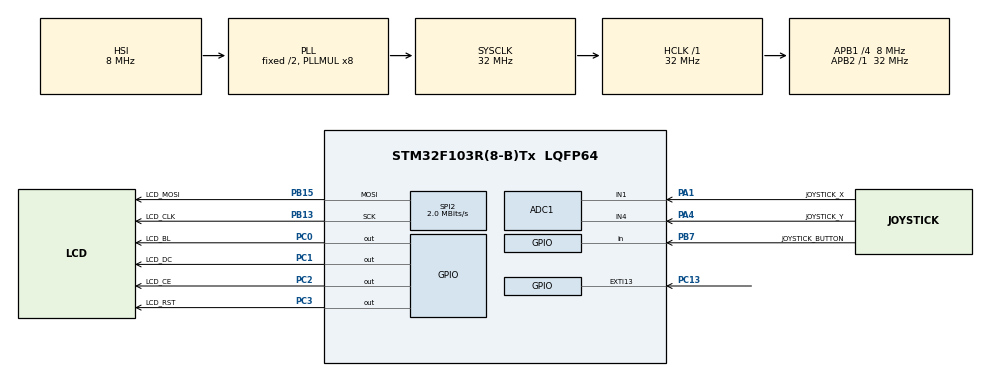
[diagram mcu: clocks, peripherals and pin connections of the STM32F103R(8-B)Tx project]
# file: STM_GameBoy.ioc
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ADC1.Channel-0\#ChannelRegularConversion=ADC_CHANNEL_1
ADC1.Channel-1\#ChannelRegularConversion=ADC_CHANNEL_4
ADC1.ContinuousConvMode=ENABLE
ADC1.EnableInjectedConversion=ENABLE
ADC1.ExternalTrigConv=ADC_SOFTWARE_START
ADC1.NbrOfConversion=2
ADC1.NbrOfConversionFlag=1
ADC1.Rank-1\#ChannelRegularConversion=2
ADC1.SamplingTime-0\#ChannelRegularConversion=ADC_SAMPLETIME_239CYCLES_5
ADC1.SamplingTime-1\#ChannelRegularConversion=ADC_SAMPLETIME_239CYCLES_5
ADC1.master=1
Dma.ADC1.0.Direction=DMA_PERIPH_TO_MEMORY
Dma.ADC1.0.Instance=DMA1_Channel1
Dma.ADC1.0.MemDataAlignment=DMA_MDATAALIGN_HALFWORD
Dma.ADC1.0.MemInc=DMA_MINC_ENABLE
Dma.ADC1.0.Mode=DMA_CIRCULAR
Dma.ADC1.0.PeriphDataAlignment=DMA_PDATAALIGN_HALFWORD
Dma.ADC1.0.PeriphInc=DMA_PINC_DISABLE
Dma.ADC1.0.Priority=DMA_PRIORITY_LOW
Dma.Request0=ADC1
Mcu.Family=STM32F1
Mcu.Name=STM32F103R(8-B)Tx
Mcu.Package=LQFP64
NVIC.DMA1_Channel1_IRQn=true\:0\:0\:false\:false\:true\:false\:true
NVIC.EXTI15_10_IRQn=true\:0\:0\:false\:false\:true\:true\:true
NVIC.PriorityGroup=NVIC_PRIORITYGROUP_4
NVIC.TIM4_IRQn=true\:0\:0\:false\:false\:true\:true\:true
PA1.GPIO_Label=JOYSTICK_X
PA1.Signal=ADCx_IN1
PA13.Mode=Serial_Wire
PA13.Signal=SYS_JTMS-SWDIO
PA14.Mode=Serial_Wire
PA14.Signal=SYS_JTCK-SWCLK
PA3.GPIO_Mode=GPIO_MODE_INPUT
PA3.GPIO_PuPd=GPIO_NOPULL
PA3.GPIO_Speed=GPIO_SPEED_FREQ_LOW
PA3.Signal=USART2_RX
PA4.GPIO_Label=JOYSTICK_Y
PA4.Signal=ADCx_IN4
PB13.GPIO_Label=LCD_CLK
PB13.Mode=TX_Only_Simplex_Unidirect_Master
PB13.Signal=SPI2_SCK
PB15.GPIO_Label=LCD_MOSI
PB15.Mode=TX_Only_Simplex_Unidirect_Master
PB15.Signal=SPI2_MOSI
PB3.Signal=SYS_JTDO-TRACESWO
PB7.GPIO_Label=JOYSTICK_BUTTON
PB7.GPIO_PuPd=GPIO_PULLUP
PB7.Signal=GPIO_Input
PC0.GPIO_Label=LCD_BL
PC0.PinState=GPIO_PIN_SET
PC0.Signal=GPIO_Output
PC1.GPIO_Label=LCD_DC
PC1.Signal=GPIO_Output
PC13-TAMPER-RTC.GPIO_ModeDefaultEXTI=GPIO_MODE_IT_RISING
PC13-TAMPER-RTC.GPIO_PuPd=GPIO_NOPULL
PC13-TAMPER-RTC.Signal=GPXTI13
PC14-OSC32_IN.Mode=LSE-External-Oscillator
PC14-OSC32_IN.Signal=RCC_OSC32_IN
PC15-OSC32_OUT.Mode=LSE-External-Oscillator
PC15-OSC32_OUT.Signal=RCC_OSC32_OUT
PC2.GPIO_Label=LCD_CE
PC2.Signal=GPIO_Output
PC3.GPIO_Label=LCD_RST
PC3.Signal=GPIO_Output
PD0-OSC_IN.Mode=HSE-External-Clock-Source
PD0-OSC_IN.Signal=RCC_OSC_IN
PD1-OSC_OUT.Mode=HSE-External-Clock-Source
PD1-OSC_OUT.Signal=RCC_OSC_OUT
ProjectManager.HeapSize=0x200
ProjectManager.StackSize=0x400
ProjectManager.TargetToolchain=STM32CubeIDE
RCC.ADCPresc=RCC_ADCPCLK2_DIV8
RCC.AHBFreq_Value=32000000
RCC.APB1CLKDivider=RCC_HCLK_DIV4
RCC.APB1Freq_Value=8000000
RCC.APB1TimFreq_Value=16000000
RCC.APB2Freq_Value=32000000
RCC.APB2TimFreq_Value=32000000
RCC.HCLKFreq_Value=32000000
RCC.PLLMUL=RCC_PLL_MUL8
RCC.RTCClockSelection=RCC_RTCCLKSOURCE_LSE
RCC.SYSCLKFreq_VALUE=32000000
RCC.SYSCLKSource=RCC_SYSCLKSOURCE_PLLCLK
RCC.USBFreq_Value=32000000
SH.ADCx_IN1.0=ADC1_IN1,IN1
SH.ADCx_IN4.0=ADC1_IN4,IN4
SPI2.BaudRatePrescaler=SPI_BAUDRATEPRESCALER_4
SPI2.CalculateBaudRate=2.0 MBits/s
SPI2.Direction=SPI_DIRECTION_2LINES
SPI2.Mode=SPI_MODE_MASTER
SPI2.VirtualType=VM_MASTER
TIM4.ClockDivision=TIM_CLOCKDIVISION_DIV4
TIM4.Period=50
TIM4.Prescaler=7999
VP_TIM4_VS_ClockSourceINT.Mode=Internal
board=NUCLEO-F103RB

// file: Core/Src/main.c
/* USER CODE BEGIN Header */
/**
  ******************************************************************************
  * @file           : main.c
  * @brief          : Main program body
  ******************************************************************************
  * @attention
  *
  * <h2><center>&copy; Copyright (c) 2020 STMicroelectronics.
  * All rights reserved.</center></h2>
  *
  * This software component is licensed by ST under BSD 3-Clause license,
  * the "License"; You may not use this file except in compliance with the
  * License. You may obtain a copy of the License at:
  *                        opensource.org/licenses/BSD-3-Clause
  *
  ******************************************************************************
  */
/* USER CODE END Header */

#include "main.h"

/* USER CODE BEGIN Includes */
//#include "menu.h"
#include "run.h"
/* USER CODE END Includes */

ADC_HandleTypeDef hadc1;
DMA_HandleTypeDef hdma_adc1;

SPI_HandleTypeDef hspi2;

TIM_HandleTypeDef htim4;

/* USER CODE BEGIN PV */
Point position = {2, 2};
Point move = {0, 0};
/* USER CODE END PV */

void SystemClock_Config(void);
static void MX_GPIO_Init(void);
static void MX_DMA_Init(void);
static void MX_ADC1_Init(void);
static void MX_SPI2_Init(void);
static void MX_TIM4_Init(void);
/* USER CODE BEGIN PFP */

void HAL_TIM_PeriodElapsedCallback(TIM_HandleTypeDef *htim){
	 if(htim->Instance == TIM4){
		 joy_direction(&move);

		 if(joystick_button_pressed && HAL_GPIO_ReadPin(JOYSTICK_BUTTON_GPIO_Port, JOYSTICK_BUTTON_Pin)){
			 joystick_button_toggle = !joystick_button_toggle;
			 joystick_button_changed = 1;
		 }
		 else{
			 joystick_button_changed = 0;
		 }
		 joystick_button_pressed = !HAL_GPIO_ReadPin(JOYSTICK_BUTTON_GPIO_Port, JOYSTICK_BUTTON_Pin);
		 if(system_actual)
			 system_actual();
	 }

}

/* USER CODE END PFP */

int main(void)
{

  /* MCU Configuration--------------------------------------------------------*/

  /* Reset of all peripherals, Initializes the Flash interface and the Systick. */
  HAL_Init();

  /* Configure the system clock */
  SystemClock_Config();

  /* Initialize all configured peripherals */
  MX_GPIO_Init();
  MX_DMA_Init();
  MX_ADC1_Init();
  MX_SPI2_Init();
  MX_TIM4_Init();
  /* USER CODE BEGIN 2 */
	HAL_TIM_Base_Start_IT(&htim4);
  HAL_ADC_Start_DMA(&hadc1, joystick, 2);

  /* USER CODE END 2 */

  /* Infinite loop */
  /* USER CODE BEGIN WHILE */
  system_setup();
  while (1)
  {

	  lcd_data(display, sizeof(display));

    /* USER CODE END WHILE */

  }
}

void SystemClock_Config(void)
{
  RCC_OscInitTypeDef RCC_OscInitStruct = {0};
  RCC_ClkInitTypeDef RCC_ClkInitStruct = {0};
  RCC_PeriphCLKInitTypeDef PeriphClkInit = {0};

  /** Initializes the CPU, AHB and APB busses clocks
  */
  RCC_OscInitStruct.OscillatorType = RCC_OSCILLATORTYPE_HSI;
  RCC_OscInitStruct.HSIState = RCC_HSI_ON;
  RCC_OscInitStruct.HSICalibrationValue = RCC_HSICALIBRATION_DEFAULT;
  RCC_OscInitStruct.PLL.PLLState = RCC_PLL_ON;
  RCC_OscInitStruct.PLL.PLLSource = RCC_PLLSOURCE_HSI_DIV2;
  RCC_OscInitStruct.PLL.PLLMUL = RCC_PLL_MUL8;
  if (HAL_RCC_OscConfig(&RCC_OscInitStruct) != HAL_OK)
  {
    Error_Handler();
  }
  /** Initializes the CPU, AHB and APB busses clocks
  */
  RCC_ClkInitStruct.ClockType = RCC_CLOCKTYPE_HCLK|RCC_CLOCKTYPE_SYSCLK
                              |RCC_CLOCKTYPE_PCLK1|RCC_CLOCKTYPE_PCLK2;
  RCC_ClkInitStruct.SYSCLKSource = RCC_SYSCLKSOURCE_PLLCLK;
  RCC_ClkInitStruct.AHBCLKDivider = RCC_SYSCLK_DIV1;
  RCC_ClkInitStruct.APB1CLKDivider = RCC_HCLK_DIV4;
  RCC_ClkInitStruct.APB2CLKDivider = RCC_HCLK_DIV1;

  if (HAL_RCC_ClockConfig(&RCC_ClkInitStruct, FLASH_LATENCY_1) != HAL_OK)
  {
    Error_Handler();
  }
  PeriphClkInit.PeriphClockSelection = RCC_PERIPHCLK_ADC;
  PeriphClkInit.AdcClockSelection = RCC_ADCPCLK2_DIV8;
  if (HAL_RCCEx_PeriphCLKConfig(&PeriphClkInit) != HAL_OK)
  {
    Error_Handler();
  }
}

static void MX_ADC1_Init(void)
{

  ADC_ChannelConfTypeDef sConfig = {0};

  /** Common config
  */
  hadc1.Instance = ADC1;
  hadc1.Init.ScanConvMode = ADC_SCAN_ENABLE;
  hadc1.Init.ContinuousConvMode = ENABLE;
  hadc1.Init.DiscontinuousConvMode = DISABLE;
  hadc1.Init.ExternalTrigConv = ADC_SOFTWARE_START;
  hadc1.Init.DataAlign = ADC_DATAALIGN_RIGHT;
  hadc1.Init.NbrOfConversion = 2;
  if (HAL_ADC_Init(&hadc1) != HAL_OK)
  {
    Error_Handler();
  }
  /** Configure Regular Channel
  */
  sConfig.Channel = ADC_CHANNEL_1;
  sConfig.Rank = ADC_REGULAR_RANK_1;
  sConfig.SamplingTime = ADC_SAMPLETIME_239CYCLES_5;
  if (HAL_ADC_ConfigChannel(&hadc1, &sConfig) != HAL_OK)
  {
    Error_Handler();
  }
  /** Configure Regular Channel
  */
  sConfig.Channel = ADC_CHANNEL_4;
  sConfig.Rank = ADC_REGULAR_RANK_2;
  if (HAL_ADC_ConfigChannel(&hadc1, &sConfig) != HAL_OK)
  {
    Error_Handler();
  }

}

static void MX_SPI2_Init(void)
{

  /* SPI2 parameter configuration*/
  hspi2.Instance = SPI2;
  hspi2.Init.Mode = SPI_MODE_MASTER;
  hspi2.Init.Direction = SPI_DIRECTION_2LINES;
  hspi2.Init.DataSize = SPI_DATASIZE_8BIT;
  hspi2.Init.CLKPolarity = SPI_POLARITY_LOW;
  hspi2.Init.CLKPhase = SPI_PHASE_1EDGE;
  hspi2.Init.NSS = SPI_NSS_SOFT;
  hspi2.Init.BaudRatePrescaler = SPI_BAUDRATEPRESCALER_4;
  hspi2.Init.FirstBit = SPI_FIRSTBIT_MSB;
  hspi2.Init.TIMode = SPI_TIMODE_DISABLE;
  hspi2.Init.CRCCalculation = SPI_CRCCALCULATION_DISABLE;
  hspi2.Init.CRCPolynomial = 10;
  if (HAL_SPI_Init(&hspi2) != HAL_OK)
  {
    Error_Handler();
  }

}

static void MX_TIM4_Init(void)
{

  TIM_ClockConfigTypeDef sClockSourceConfig = {0};
  TIM_MasterConfigTypeDef sMasterConfig = {0};

  htim4.Instance = TIM4;
  htim4.Init.Prescaler = 7999;
  htim4.Init.CounterMode = TIM_COUNTERMODE_UP;
  htim4.Init.Period = 50;
  htim4.Init.ClockDivision = TIM_CLOCKDIVISION_DIV4;
  htim4.Init.AutoReloadPreload = TIM_AUTORELOAD_PRELOAD_DISABLE;
  if (HAL_TIM_Base_Init(&htim4) != HAL_OK)
  {
    Error_Handler();
  }
  sClockSourceConfig.ClockSource = TIM_CLOCKSOURCE_INTERNAL;
  if (HAL_TIM_ConfigClockSource(&htim4, &sClockSourceConfig) != HAL_OK)
  {
    Error_Handler();
  }
  sMasterConfig.MasterOutputTrigger = TIM_TRGO_RESET;
  sMasterConfig.MasterSlaveMode = TIM_MASTERSLAVEMODE_DISABLE;
  if (HAL_TIMEx_MasterConfigSynchronization(&htim4, &sMasterConfig) != HAL_OK)
  {
    Error_Handler();
  }

}

static void MX_DMA_Init(void)
{

  /* DMA controller clock enable */
  __HAL_RCC_DMA1_CLK_ENABLE();

  /* DMA interrupt init */
  /* DMA1_Channel1_IRQn interrupt configuration */
  HAL_NVIC_SetPriority(DMA1_Channel1_IRQn, 0, 0);
  HAL_NVIC_EnableIRQ(DMA1_Channel1_IRQn);

}

static void MX_GPIO_Init(void)
{
  GPIO_InitTypeDef GPIO_InitStruct = {0};

  /* GPIO Ports Clock Enable */
  __HAL_RCC_GPIOC_CLK_ENABLE();
  __HAL_RCC_GPIOD_CLK_ENABLE();
  __HAL_RCC_GPIOA_CLK_ENABLE();
  __HAL_RCC_GPIOB_CLK_ENABLE();

  /*Configure GPIO pin Output Level */
  HAL_GPIO_WritePin(LCD_BL_GPIO_Port, LCD_BL_Pin, GPIO_PIN_SET);

  /*Configure GPIO pin Output Level */
  HAL_GPIO_WritePin(GPIOC, LCD_DC_Pin|LCD_CE_Pin|LCD_RST_Pin, GPIO_PIN_RESET);

  /*Configure GPIO pin : PC13 */
  GPIO_InitStruct.Pin = GPIO_PIN_13;
  GPIO_InitStruct.Mode = GPIO_MODE_IT_RISING;
  GPIO_InitStruct.Pull = GPIO_NOPULL;
  HAL_GPIO_Init(GPIOC, &GPIO_InitStruct);

  /*Configure GPIO pins : LCD_BL_Pin LCD_DC_Pin LCD_CE_Pin LCD_RST_Pin */
  GPIO_InitStruct.Pin = LCD_BL_Pin|LCD_DC_Pin|LCD_CE_Pin|LCD_RST_Pin;
  GPIO_InitStruct.Mode = GPIO_MODE_OUTPUT_PP;
  GPIO_InitStruct.Pull = GPIO_NOPULL;
  GPIO_InitStruct.Speed = GPIO_SPEED_FREQ_LOW;
  HAL_GPIO_Init(GPIOC, &GPIO_InitStruct);

  /*Configure GPIO pin : PA3 */
  GPIO_InitStruct.Pin = GPIO_PIN_3;
  GPIO_InitStruct.Mode = GPIO_MODE_INPUT;
  GPIO_InitStruct.Pull = GPIO_NOPULL;
  HAL_GPIO_Init(GPIOA, &GPIO_InitStruct);

  /*Configure GPIO pin : JOYSTICK_BUTTON_Pin */
  GPIO_InitStruct.Pin = JOYSTICK_BUTTON_Pin;
  GPIO_InitStruct.Mode = GPIO_MODE_INPUT;
  GPIO_InitStruct.Pull = GPIO_PULLUP;
  HAL_GPIO_Init(JOYSTICK_BUTTON_GPIO_Port, &GPIO_InitStruct);

  /* EXTI interrupt init*/
  HAL_NVIC_SetPriority(EXTI15_10_IRQn, 0, 0);
  HAL_NVIC_EnableIRQ(EXTI15_10_IRQn);

}

void Error_Handler(void)
{
}

/************************ (C) COPYRIGHT STMicroelectronics *****END OF FILE****/
